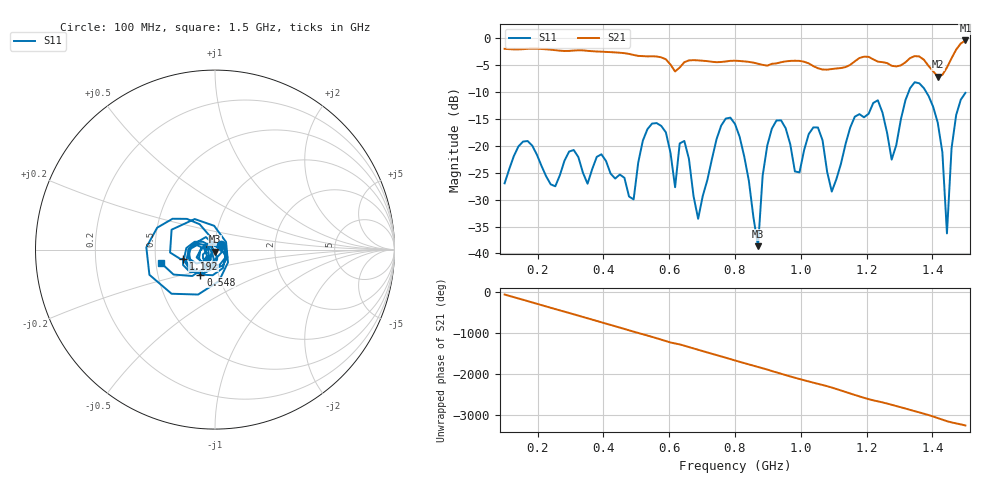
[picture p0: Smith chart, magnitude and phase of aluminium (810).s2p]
! NanoVNA-App
! Date: 2025-09-25 15:01:35
! Start: 100MHz Stop: 1,5GHz Points: 101
! S-Parameter data: F S11 S21 S12 S22
# Hz S RI R 50
!  Frequency  S11_Real  S11_Imag  S21_Real  S21_Imag  S12_Real  S12_Imag  S22_Real  S22_Imag
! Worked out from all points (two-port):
!   101 points, 100 MHz to 1.5 GHz, reference 50 ohm
!   highest |S21| = -0.37 dB at 1.5 GHz (marker M1); lowest = -7.1 dB at 1.416 GHz (marker M2)
!   |S21| within 3 dB of the highest: start of sweep to 563.6 MHz; 1.461 GHz to end of sweep (the widest 2 of 3)
!   lowest |S11| = -38.7 dB at 870 MHz (marker M3), VSWR 1.02, Z = 50.1 - j1.17 ohm
!   |S11| at or under -10 dB: start of sweep to 1.327 GHz; 1.381 GHz to end of sweep
!   S12 and S22 are empty: the file has one direction only
!   S11 on the Smith chart (normalised r, x): 100 MHz: 1.07, +0.06; 548 MHz: 0.82, -0.23; 1.192 GHz: 0.70, -0.07; 1.5 GHz: 0.53, -0.09
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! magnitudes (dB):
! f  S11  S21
! 100 MHz  -27.0  -1.9
! 156 MHz  -19.2  -2.0
! 338 MHz  -25.0  -2.2
! 492 MHz  -30.0  -3.1
! 548 MHz  -15.8  -3.3
! 576 MHz  -16.3  -3.5
! 618 MHz  -27.7  -6.1
! 646 MHz  -19.1  -4.4
! 688 MHz  -33.6  -4.1
! 800 MHz  -15.9  -4.1
! 870 MHz  -38.7  -4.7
! 912 MHz  -16.8  -4.7
! 996 MHz  -24.9  -4.2
! 1.038 GHz  -16.6  -5.1
! 1.094 GHz  -28.5  -5.7
! 1.192 GHz  -14.7  -3.4
! 1.276 GHz  -22.5  -5.1
! 1.346 GHz  -8.1  -3.3
! 1.416 GHz  -15.7  -7.1
! 1.444 GHz  -36.3  -5.4
! 1.458 GHz  -20.4  -3.7
! 1.5 GHz  -10.1  -0.4
